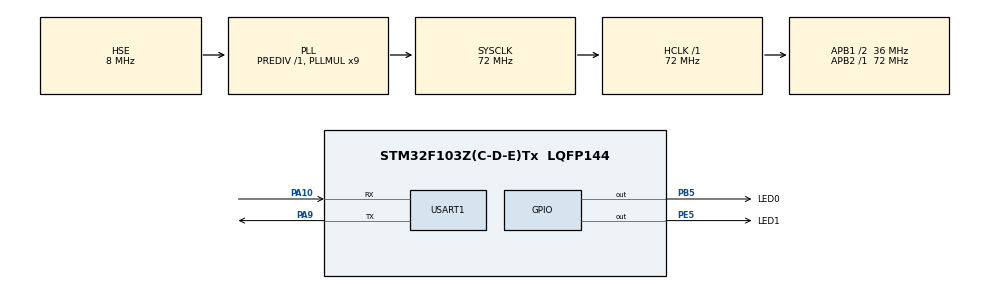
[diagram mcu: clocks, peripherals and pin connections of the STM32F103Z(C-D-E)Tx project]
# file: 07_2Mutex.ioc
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FREERTOS.Mutexes01=token,Dynamic,NULL,Available
FREERTOS.Tasks01=Task_High,40,128,AppTask_High,Default,NULL,Dynamic,NULL,NULL;Task_Middle,24,128,AppTask_Middle,Default,NULL,Dynamic,NULL,NULL;Task_Low,8,128,AppTask_Low,Default,NULL,Dynamic,NULL,NULL
Mcu.Family=STM32F1
Mcu.Name=STM32F103Z(C-D-E)Tx
Mcu.Package=LQFP144
NVIC.PriorityGroup=NVIC_PRIORITYGROUP_4
NVIC.TIM6_IRQn=true\:15\:0\:false\:false\:true\:false\:false\:true\:true
NVIC.TimeBase=TIM6_IRQn
NVIC.TimeBaseIP=TIM6
OSC_IN.Mode=HSE-External-Oscillator
OSC_IN.Signal=RCC_OSC_IN
OSC_OUT.Mode=HSE-External-Oscillator
OSC_OUT.Signal=RCC_OSC_OUT
PA10.Mode=Asynchronous
PA10.Signal=USART1_RX
PA13.Mode=Serial_Wire
PA13.Signal=SYS_JTMS-SWDIO
PA14.Mode=Serial_Wire
PA14.Signal=SYS_JTCK-SWCLK
PA9.Mode=Asynchronous
PA9.Signal=USART1_TX
PB5.GPIO_Label=LED0
PB5.Signal=GPIO_Output
PE5.GPIO_Label=LED1
PE5.Signal=GPIO_Output
ProjectManager.HeapSize=0x800
ProjectManager.StackSize=0x800
ProjectManager.TargetToolchain=MDK-ARM V5.32
RCC.AHBFreq_Value=72000000
RCC.APB1CLKDivider=RCC_HCLK_DIV2
RCC.APB1Freq_Value=36000000
RCC.APB1TimFreq_Value=72000000
RCC.APB2Freq_Value=72000000
RCC.APB2TimFreq_Value=72000000
RCC.HCLKFreq_Value=72000000
RCC.PLLMUL=RCC_PLL_MUL9
RCC.PLLSourceVirtual=RCC_PLLSOURCE_HSE
RCC.SYSCLKFreq_VALUE=72000000
RCC.SYSCLKSource=RCC_SYSCLKSOURCE_PLLCLK
RCC.USBFreq_Value=72000000
USART1.VirtualMode=VM_ASYNC
VP_FREERTOS_VS_CMSIS_V2.Mode=CMSIS_V2
VP_SYS_VS_tim6.Mode=TIM6
board=custom

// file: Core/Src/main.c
/* USER CODE BEGIN Header */
/**
  ******************************************************************************
  * @file           : main.c
  * @brief          : Main program body
  ******************************************************************************
  * @attention
  *
  * Copyright (c) 2025 STMicroelectronics.
  * All rights reserved.
  *
  * This software is licensed under terms that can be found in the LICENSE file
  * in the root directory of this software component.
  * If no LICENSE file comes with this software, it is provided AS-IS.
  *
  ******************************************************************************
  */
/* USER CODE END Header */
#include "main.h"
#include "cmsis_os.h"
#include "usart.h"
#include "gpio.h"

void SystemClock_Config(void);
void MX_FREERTOS_Init(void);

int main(void)
{

  /* MCU Configuration--------------------------------------------------------*/

  /* Reset of all peripherals, Initializes the Flash interface and the Systick. */
  HAL_Init();

  /* Configure the system clock */
  SystemClock_Config();

  /* Initialize all configured peripherals */
  MX_GPIO_Init();
  MX_USART1_UART_Init();

  /* Init scheduler */
  osKernelInitialize();  /* Call init function for freertos objects (in cmsis_os2.c) */
  MX_FREERTOS_Init();

  /* Start scheduler */
  osKernelStart();

  /* We should never get here as control is now taken by the scheduler */

  /* Infinite loop */
  while (1)
  {

  }
}

void SystemClock_Config(void)
{
  RCC_OscInitTypeDef RCC_OscInitStruct = {0};
  RCC_ClkInitTypeDef RCC_ClkInitStruct = {0};

  /** Initializes the RCC Oscillators according to the specified parameters
  * in the RCC_OscInitTypeDef structure.
  */
  RCC_OscInitStruct.OscillatorType = RCC_OSCILLATORTYPE_HSE;
  RCC_OscInitStruct.HSEState = RCC_HSE_ON;
  RCC_OscInitStruct.HSEPredivValue = RCC_HSE_PREDIV_DIV1;
  RCC_OscInitStruct.HSIState = RCC_HSI_ON;
  RCC_OscInitStruct.PLL.PLLState = RCC_PLL_ON;
  RCC_OscInitStruct.PLL.PLLSource = RCC_PLLSOURCE_HSE;
  RCC_OscInitStruct.PLL.PLLMUL = RCC_PLL_MUL9;
  if (HAL_RCC_OscConfig(&RCC_OscInitStruct) != HAL_OK)
  {
    Error_Handler();
  }

  /** Initializes the CPU, AHB and APB buses clocks
  */
  RCC_ClkInitStruct.ClockType = RCC_CLOCKTYPE_HCLK|RCC_CLOCKTYPE_SYSCLK
                              |RCC_CLOCKTYPE_PCLK1|RCC_CLOCKTYPE_PCLK2;
  RCC_ClkInitStruct.SYSCLKSource = RCC_SYSCLKSOURCE_PLLCLK;
  RCC_ClkInitStruct.AHBCLKDivider = RCC_SYSCLK_DIV1;
  RCC_ClkInitStruct.APB1CLKDivider = RCC_HCLK_DIV2;
  RCC_ClkInitStruct.APB2CLKDivider = RCC_HCLK_DIV1;

  if (HAL_RCC_ClockConfig(&RCC_ClkInitStruct, FLASH_LATENCY_2) != HAL_OK)
  {
    Error_Handler();
  }
}

void HAL_TIM_PeriodElapsedCallback(TIM_HandleTypeDef *htim)
{
  if (htim->Instance == TIM6)
  {
    HAL_IncTick();
  }
}

void Error_Handler(void)
{
  __disable_irq();
  while (1)
  {
  }
}

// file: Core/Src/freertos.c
/* USER CODE BEGIN Header */
/**
  ******************************************************************************
  * File Name          : freertos.c
  * Description        : Code for freertos applications
  ******************************************************************************
  * @attention
  *
  * Copyright (c) 2025 STMicroelectronics.
  * All rights reserved.
  *
  * This software is licensed under terms that can be found in the LICENSE file
  * in the root directory of this software component.
  * If no LICENSE file comes with this software, it is provided AS-IS.
  *
  ******************************************************************************
  */
/* USER CODE END Header */

#include "FreeRTOS.h"
#include "task.h"
#include "main.h"
#include "cmsis_os.h"

/* USER CODE BEGIN Includes */
#include "stdio.h"
#include "string.h"
#include "usart.h"
#include "semphr.h"
/* USER CODE END Includes */

/* Definitions for Task_High */
osThreadId_t Task_HighHandle;
const osThreadAttr_t Task_High_attributes = {
  .name = "Task_High",
  .stack_size = 128 * 4,
  .priority = (osPriority_t) osPriorityHigh,
};
/* Definitions for Task_Middle */
osThreadId_t Task_MiddleHandle;
const osThreadAttr_t Task_Middle_attributes = {
  .name = "Task_Middle",
  .stack_size = 128 * 4,
  .priority = (osPriority_t) osPriorityNormal,
};
/* Definitions for Task_Low */
osThreadId_t Task_LowHandle;
const osThreadAttr_t Task_Low_attributes = {
  .name = "Task_Low",
  .stack_size = 128 * 4,
  .priority = (osPriority_t) osPriorityLow,
};
/* Definitions for token */
osMutexId_t tokenHandle;
const osMutexAttr_t token_attributes = {
  .name = "token"
};

void AppTask_High(void *argument);
void AppTask_Middle(void *argument);
void AppTask_Low(void *argument);

void MX_FREERTOS_Init(void); /* (MISRA C 2004 rule 8.1) */

void MX_FREERTOS_Init(void) {
  /* Create the mutex(es) */
  /* creation of token */
  tokenHandle = osMutexNew(&token_attributes);

  /* Create the thread(s) */
  /* creation of Task_High */
  Task_HighHandle = osThreadNew(AppTask_High, NULL, &Task_High_attributes);

  /* creation of Task_Middle */
  Task_MiddleHandle = osThreadNew(AppTask_Middle, NULL, &Task_Middle_attributes);

  /* creation of Task_Low */
  Task_LowHandle = osThreadNew(AppTask_Low, NULL, &Task_Low_attributes);

}

void AppTask_High(void *argument)
{
  /* USER CODE BEGIN AppTask_High */
  char strHigh[] = "Task_High get token \r\n";

  /* Infinite loop */
  for(;;)
  {
    if (xSemaphoreTake(tokenHandle, portMAX_DELAY) == pdTRUE)
    {
      HAL_UART_Transmit(&huart1, (uint8_t*)strHigh, strlen(strHigh), 300);
      HAL_Delay(10);
      xSemaphoreGive(tokenHandle);
    }
    vTaskDelay(pdMS_TO_TICKS(500));
  }
  /* USER CODE END AppTask_High */
}

void AppTask_Middle(void *argument)
{
  /* USER CODE BEGIN AppTask_Middle */
  char strMid[] = "Task_Middle is running \r\n";
  /* Infinite loop */
  for(;;)
  {
    HAL_UART_Transmit(&huart1, (uint8_t*)strMid, strlen(strMid), 300);
    HAL_Delay(10);
    vTaskDelay(pdMS_TO_TICKS(500));
    //osDelay(1);
  }
  /* USER CODE END AppTask_Middle */
}

void AppTask_Low(void *argument)
{
  /* USER CODE BEGIN AppTask_Low */
  char str1[] = "Task_Low take it \r\n";
  char str2[] = "Task_Low give it \r\n";
  /* Infinite loop */
  for(;;)
  {
    if (xSemaphoreTake(tokenHandle, pdMS_TO_TICKS(200)) == pdTRUE)
    {
      HAL_UART_Transmit(&huart1, (uint8_t*)str1, strlen(str1), 300);
      HAL_Delay(1000);//假设程序运行1s时间
      HAL_UART_Transmit(&huart1, (uint8_t*)str2, strlen(str2), 300);
      HAL_Delay(10);
      xSemaphoreGive(tokenHandle);
    }
    vTaskDelay(pdMS_TO_TICKS(20));

    //osDelay(1);
  }
  /* USER CODE END AppTask_Low */
}
